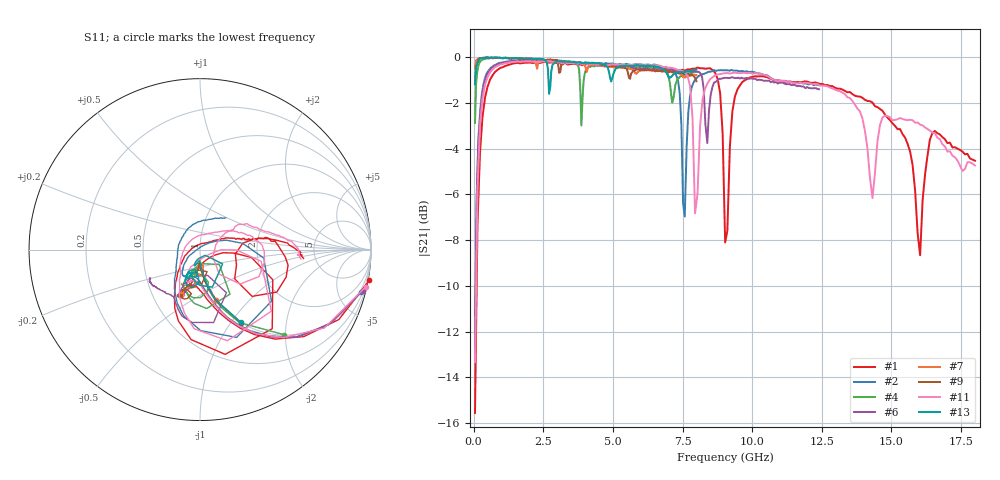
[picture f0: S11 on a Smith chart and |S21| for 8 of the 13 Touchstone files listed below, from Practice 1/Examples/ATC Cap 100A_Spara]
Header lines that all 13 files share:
!  American Technical Ceramics  Date:  3/13/98
!  One Norden Lane
!  Huntington Station,  NY.  11746-2102
!  Tel:  (516) 547-5700  Fax:  (516) 547-5748
!  Description: Porcelain, High Q, Low ESR
!  Application: Bypass, Coupling, Timing, Feedback
!  Tuning, Impedance Match, Blocking
# GHZ S DB R 50
! Freq  |S11|  S11 Ph  |S21|  S21 Ph  |S12|  S12 Ph  |S22|  S22 Ph
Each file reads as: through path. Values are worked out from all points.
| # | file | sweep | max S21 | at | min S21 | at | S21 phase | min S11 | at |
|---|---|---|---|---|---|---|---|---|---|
| 1 | 100B5R6B.S2P | 50 MHz to 18 GHz | -0.21 dB | 2.56 GHz | -15.6 dB | 50 MHz | -41 deg at 9.03 GHz | -30.4 dB | 11.36 GHz |
| 2 | 100B8R2B.S2P | 50 MHz to 12.4 GHz | -0.14 dB | 1.9 GHz | -12.2 dB | 50 MHz | -13 deg at 6.23 GHz | -39.8 dB | 7.03 GHz |
| 3 | 100B101F.S2P | 50 MHz to 8 GHz | 0.02 dB | 650 MHz | -1.2 dB | 2.12 GHz | -5 deg at 4.03 GHz | -27.6 dB | 2.04 GHz |
| 4 | 100B330F.S2P | 50 MHz to 8 GHz | -0.03 dB | 920 MHz | -3.0 dB | 3.87 GHz | -3 deg at 4.03 GHz | -21.6 dB | 3.79 GHz |
| 5 | 100B680F.S2P | 50 MHz to 8 GHz | 0.00 dB | 770 MHz | -1.4 dB | 2.55 GHz | -7 deg at 4.03 GHz | -27.3 dB | 2.47 GHz |
| 6 | 180R8R2D.S2P | 50 MHz to 12.4 GHz | -0.15 dB | 1.9 GHz | -12.7 dB | 50 MHz | -3 deg at 6.23 GHz | -16.0 dB | 8.2 GHz |
| 7 | 180R101K.S2P | 50 MHz to 8 GHz | -0.02 dB | 650 MHz | -0.9 dB | 7.6 GHz | -3 deg at 4.03 GHz | -24.7 dB | 530 MHz |
| 8 | 180R390F.S2P | 50 MHz to 8 GHz | -0.02 dB | 730 MHz | -2.3 dB | 50 MHz | -0 deg at 4.03 GHz | -20.7 dB | 880 MHz |
| 9 | 180R560K.S2P | 50 MHz to 8 GHz | -0.01 dB | 490 MHz | -1.2 dB | 50 MHz | -1 deg at 4.03 GHz | -22.4 dB | 730 MHz |
| 10 | 700A220F.S2P | 50 MHz to 12.4 GHz | 0.02 dB | 1.35 GHz | -4.9 dB | 50 MHz | -2 deg at 6.23 GHz | -49.1 dB | 2.4 GHz |
| 11 | 700B6R8J.S2P | 50 MHz to 18 GHz | -0.18 dB | 2.47 GHz | -13.3 dB | 50 MHz | -15 deg at 9.03 GHz | -25.9 dB | 7.41 GHz |
| 12 | 700B180F.S2P | 50 MHz to 12.4 GHz | -0.07 dB | 1.35 GHz | -6.2 dB | 50 MHz | -12 deg at 6.23 GHz | -24.3 dB | 4.74 GHz |
| 13 | 700B560J.S2P | 50 MHz to 8 GHz | -0.01 dB | 770 MHz | -1.6 dB | 2.71 GHz | -8 deg at 4.03 GHz | -27.0 dB | 2.67 GHz |
